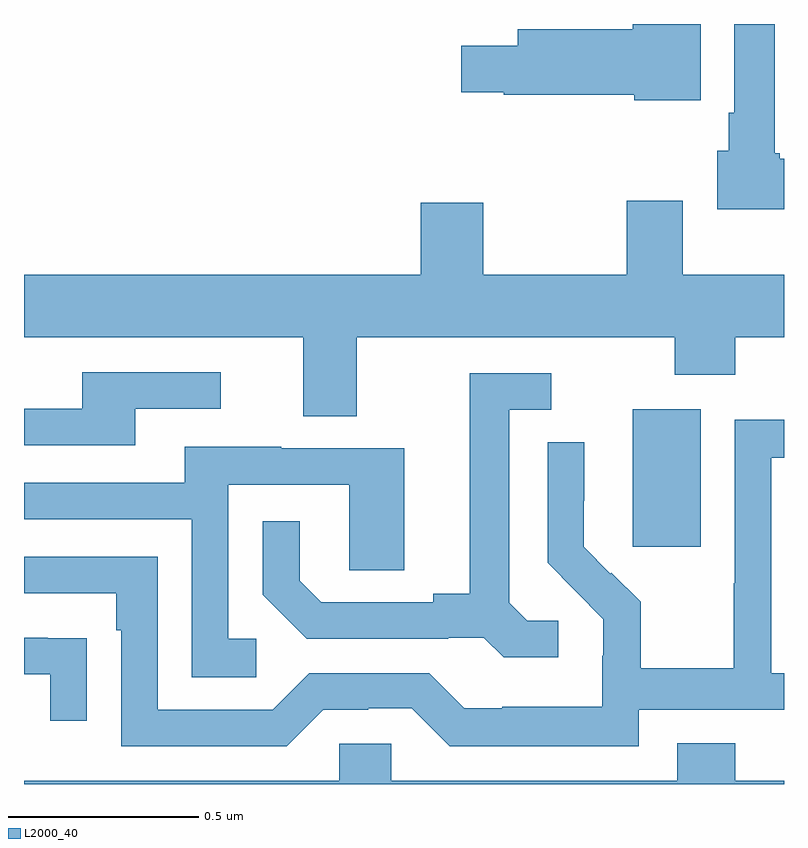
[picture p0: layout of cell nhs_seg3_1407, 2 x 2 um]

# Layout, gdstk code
import gdstk
lib = gdstk.Library(unit=1e-6, precision=1e-09)
def R(c, l, rs):  # rectangles x0, y0, x1, y1
    for r in rs: c.add(gdstk.rectangle(r[:2], r[2:], *l))
def P(c, l, *ps):  # polygons
    for p in ps: c.add(gdstk.Polygon(p, *l))
L2000_40 = (2000, 40)

nhs_seg3_1407 = lib.new_cell('nhs_seg3_1407')
R(nhs_seg3_1407, L2000_40, [(129.602,707.025,129.781,707.386)])
P(nhs_seg3_1407, L2000_40, [(129.781,708.4),(129.602,708.4),(129.602,708.386),(129.299,708.386),(129.299,708.343),(129.15,708.343),(129.15,708.221),(129.262,708.221),(129.262,708.214),(129.606,708.214),(129.606,708.2),(129.781,708.2)],
  [(130,708.046),(129.989,708.046),(129.989,708.06),(129.976,708.06),(129.976,708.4),(129.869,708.4),(129.869,708.166),(129.854,708.166),(129.854,708.066),(129.824,708.066),(129.824,707.912),(130,707.912)],
  [(128.875,707.576),(129.712,707.576),(129.712,707.477),(129.872,707.477),(129.872,707.576),(130,707.576),(130,707.74),(129.733,707.74),(129.733,707.935),(129.586,707.935),(129.586,707.74),(129.208,707.74),(129.208,707.929),(129.044,707.929),(129.044,707.74),(128,707.74),(128,707.576),(128.735,707.576),(128.735,707.368),(128.875,707.368)],
  [(128.293,707.388),(128.518,707.388),(128.518,707.484),(128.153,707.484),(128.153,707.388),(128,707.388),(128,707.292),(128.293,707.292)],
  [(129.406,706.83),(129.324,706.83),(129.277,706.877),(129.277,707.385),(129.388,707.385),(129.388,707.481),(129.173,707.481),(129.173,706.901),(129.077,706.901),(129.077,706.878),(128.782,706.878),(128.725,706.935),(128.725,707.092),(128.628,707.092),(128.628,706.898),(128.744,706.782),(129.116,706.782),(129.116,706.785),(129.21,706.785),(129.262,706.733),(129.406,706.733)],
  [(129.618,706.596),(130,706.596),(130,706.692),(129.966,706.692),(129.966,707.259),(130,707.259),(130,707.358),(129.87,707.358),(129.87,706.928),(129.868,706.928),(129.868,706.705),(129.623,706.705),(129.623,706.879),(129.546,706.956),(129.543,706.953),(129.473,707.024),(129.473,707.146),(129.474,707.146),(129.474,707.3),(129.378,707.3),(129.378,706.982),(129.451,706.909),(129.45,706.908),(129.524,706.834),(129.524,706.737),(129.522,706.737),(129.522,706.603),(129.259,706.603),(129.259,706.599),(129.159,706.599),(129.066,706.692),(128.751,706.692),(128.655,706.596),(128.352,706.596),(128.352,706.998),(128,706.998),(128,706.902),(128.243,706.902),(128.243,706.805),(128.256,706.805),(128.256,706.5),(128.691,706.5),(128.787,706.596),(128.906,706.596),(128.906,706.599),(129.021,706.599),(129.121,706.499),(129.618,706.499)],
  [(128.611,706.782),(128.538,706.782),(128.538,707.187),(128.856,707.187),(128.856,706.963),(129.001,706.963),(129.001,707.283),(128.677,707.283),(128.677,707.287),(128.423,707.287),(128.423,707.193),(128,707.193),(128,707.097),(128.442,707.097),(128.442,706.681),(128.611,706.681)],
  [(128.165,706.784),(128.063,706.784),(128.063,706.785),(128,706.785),(128,706.689),(128.069,706.689),(128.069,706.566),(128.165,706.566)],
  [(130,706.408),(129.872,706.408),(129.872,706.507),(129.719,706.507),(129.719,706.408),(128.967,706.408),(128.967,706.506),(128.829,706.506),(128.829,706.408),(128,706.408),(128,706.4),(130,706.4)])

lib.write_gds('nhs_seg3_1407.gds')
